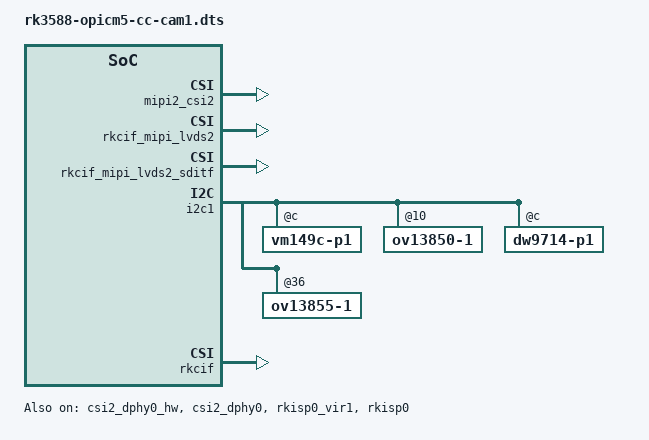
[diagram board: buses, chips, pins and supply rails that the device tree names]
// SPDX-License-Identifier: (GPL-2.0+ OR MIT)
/*
 * Enable camera path 1 on Orange Pi CM5-CC.
 *
 * Path: CSI2 D-PHY0 → MIPI2-CSI2 → RKCIF → RKVISP1
 *       I2C1 for sensor control
 *
 * Dependencies: rk3588s-orangepi-cm5-cc-camera1.dtsi (included in main DTS)
 * Compatible sensors: OV13850 (0x10), OV13855 (0x36), etc. on I2C1
 */

/dts-v1/;
/plugin/;

/ {
	fragment@0 {
		target = <&csi2_dphy0_hw>;
		__overlay__ {
			status = "okay";
		};
	};

	fragment@1 {
		target = <&csi2_dphy0>;
		__overlay__ {
			status = "okay";
		};
	};

	fragment@2 {
		target = <&mipi2_csi2>;
		__overlay__ {
			status = "okay";
		};
	};

	fragment@3 {
		target = <&rkcif_mipi_lvds2>;
		__overlay__ {
			status = "okay";
		};
	};

	fragment@4 {
		target = <&rkcif_mipi_lvds2_sditf>;
		__overlay__ {
			status = "okay";
		};
	};

	fragment@5 {
		target = <&rkisp0_vir1>;
		__overlay__ {
			status = "okay";
		};
	};

	fragment@6 {
		target = <&i2c1>;
		__overlay__ {
			status = "okay";

			vm149c-p1@c {
				status = "okay";
			};

			ov13850-1@10 {
				status = "okay";
			};

			dw9714-p1@c {
				status = "okay";
			};

			ov13855-1@36 {
				status = "okay";
			};
		};
	};

	fragment@7 {
		target = <&rkcif>;
		__overlay__ {
			status = "okay";
		};
	};

	fragment@8 {
		target = <&rkcif_mmu>;
		__overlay__ {
			status = "okay";
		};
	};

	fragment@9 {
		target = <&rkisp0>;
		__overlay__ {
			status = "okay";
		};
	};

	fragment@10 {
		target = <&isp0_mmu>;
		__overlay__ {
			status = "okay";
		};
	};
};
